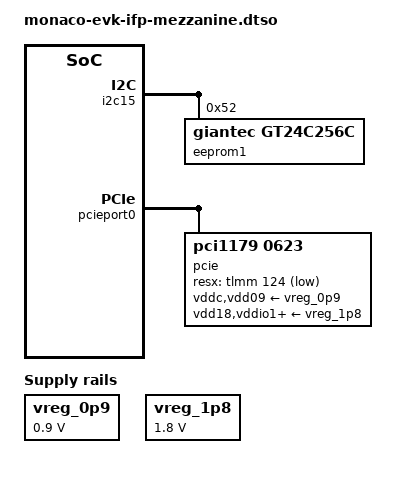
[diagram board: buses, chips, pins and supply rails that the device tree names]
// SPDX-License-Identifier: BSD-3-Clause
/*
 * Copyright (c) Qualcomm Technologies, Inc. and/or its subsidiaries.
 */

/dts-v1/;
/plugin/;

#include <dt-bindings/gpio/gpio.h>

&{/} {
	model = "Qualcomm Technologies, Inc. Monaco-EVK IFP Mezzanine";

	vreg_0p9: regulator-0v9 {
		compatible = "regulator-fixed";
		regulator-name = "VREG_0P9";

		regulator-min-microvolt = <900000>;
		regulator-max-microvolt = <900000>;
		regulator-always-on;
		regulator-boot-on;
	};

	vreg_1p8: regulator-1v8 {
		compatible = "regulator-fixed";
		regulator-name = "VREG_1P8";

		regulator-min-microvolt = <1800000>;
		regulator-max-microvolt = <1800000>;
		regulator-always-on;
		regulator-boot-on;
	};
};

&i2c15 {
	#address-cells = <1>;
	#size-cells = <0>;

	eeprom1: eeprom@52 {
		compatible = "giantec,gt24c256c", "atmel,24c256";
		reg = <0x52>;
		pagesize = <64>;

		nvmem-layout {
			compatible = "fixed-layout";
			#address-cells = <1>;
			#size-cells = <1>;
		};
	};
};

&pcie0 {
	iommu-map = <0x0   &pcie_smmu 0x0 0x1>,
		    <0x100 &pcie_smmu 0x1 0x1>,
		    <0x208 &pcie_smmu 0x2 0x1>,
		    <0x210 &pcie_smmu 0x3 0x1>,
		    <0x218 &pcie_smmu 0x4 0x1>,
		    <0x300 &pcie_smmu 0x5 0x1>,
		    <0x400 &pcie_smmu 0x6 0x1>,
		    <0x500 &pcie_smmu 0x7 0x1>,
		    <0x501 &pcie_smmu 0x8 0x1>;
};

&pcieport0 {
	#address-cells = <3>;
	#size-cells = <2>;

	pcie@0,0 {
		compatible = "pci1179,0623";
		reg = <0x10000 0x0 0x0 0x0 0x0>;
		#address-cells = <3>;
		#size-cells = <2>;

		device_type = "pci";
		ranges;
		bus-range = <0x2 0xff>;

		vddc-supply = <&vreg_0p9>;
		vdd18-supply = <&vreg_1p8>;
		vdd09-supply = <&vreg_0p9>;
		vddio1-supply = <&vreg_1p8>;
		vddio2-supply = <&vreg_1p8>;
		vddio18-supply = <&vreg_1p8>;

		i2c-parent = <&i2c15 0x77>;

		resx-gpios = <&tlmm 124 GPIO_ACTIVE_LOW>;

		pinctrl-0 = <&tc9563_resx_n>;
		pinctrl-names = "default";

		pcie@1,0 {
			reg = <0x20800 0x0 0x0 0x0 0x0>;
			#address-cells = <3>;
			#size-cells = <2>;

			device_type = "pci";
			ranges;
			bus-range = <0x3 0xff>;
		};

		pcie@2,0 {
			reg = <0x21000 0x0 0x0 0x0 0x0>;
			#address-cells = <3>;
			#size-cells = <2>;

			device_type = "pci";
			ranges;
			bus-range = <0x4 0xff>;
		};

		pcie@3,0 {
			reg = <0x21800 0x0 0x0 0x0 0x0>;
			#address-cells = <3>;
			#size-cells = <2>;
			device_type = "pci";
			ranges;
			bus-range = <0x5 0xff>;

			pci@0,0 {
				reg = <0x50000 0x0 0x0 0x0 0x0>;
				#address-cells = <3>;
				#size-cells = <2>;
				device_type = "pci";
				ranges;
			};

			pci@0,1 {
				reg = <0x50100 0x0 0x0 0x0 0x0>;
				#address-cells = <3>;
				#size-cells = <2>;
				device_type = "pci";
				ranges;
			};
		};
	};
};

&tlmm {
	tc9563_resx_n: tc9563-resx-state {
		pins = "gpio124";
		function = "gpio";
		bias-disable;
		/* Reset pin of tc9563 is active low hence set default
		 * state of this pin to output-high.
		 */
		output-high;
	};
};
